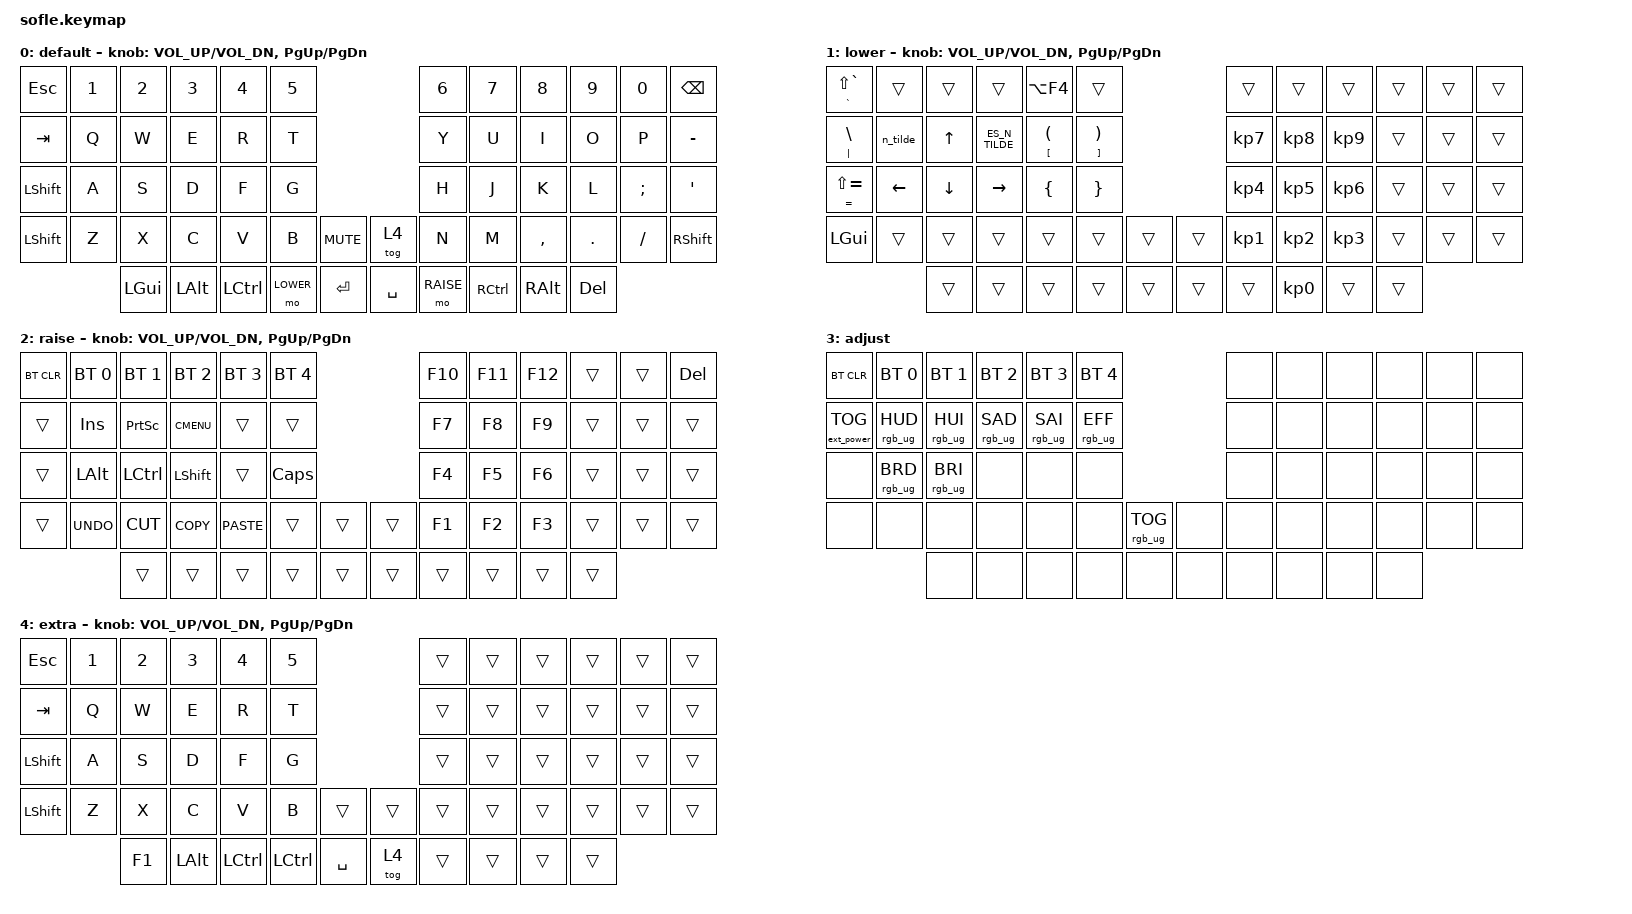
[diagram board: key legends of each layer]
/*
 * Copyright (c) 2020 The ZMK Contributors
 *
 * SPDX-License-Identifier: MIT
 */

#include <behaviors.dtsi>
#include <dt-bindings/zmk/bt.h>
#include <dt-bindings/zmk/ext_power.h>
#include <dt-bindings/zmk/keys.h>
#include <dt-bindings/zmk/rgb.h>
#include "keys_es_latin_american.h"

#define BASE 0
#define LOWER 1
#define RAISE 2
#define ADJUST 3
#define EXTRA 4

&nice_view_spi { cs-gpios = <&pro_micro 4 GPIO_ACTIVE_HIGH>; };

/ {
    // Activate ADJUST layer by pressing raise and lower

    conditional_layers {
        compatible = "zmk,conditional-layers";

        adjust_layer {
            if-layers = <LOWER RAISE>;
            then-layer = <ADJUST>;
        };
    };

    macros {
        n_tilde: n_tilde {
            compatible = "zmk,behavior-macro";
            #binding-cells = <0>;
            bindings = <&kt RIGHT_ALT &kp KP_N1 &kp KP_N6 &kp KP_N4 &kt RIGHT_ALT>;
            label = "N_TILDE";
        };
    };

    keymap {
        compatible = "zmk,keymap";

        default_layer {
            display-name = "default";

            // ------------------------------------------------------------------------------------------------------------
            // |   `   |  1  |  2  |  3   |  4   |  5   |                   |  6   |  7    |  8    |  9   |   0   |       |
            // |  ESC  |  Q  |  W  |  E   |  R   |  T   |                   |  Y   |  U    |  I    |  O   |   P   | BKSPC |
            // |  TAB  |  A  |  S  |  D   |  F   |  G   |                   |  H   |  J    |  K    |  L   |   ;   |   '   |
            // | SHIFT |  Z  |  X  |  C   |  V   |  B   |  MUTE  |  |       |  N   |  M    |  ,    |  .   |   /   | SHIFT |
            //               | GUI | ALT  | CTRL | LOWER|  ENTER |  | SPACE | RAISE| CTRL  | ALT   | GUI  |

            bindings = <
&kp ESC    &kp N1  &kp N2    &kp N3    &kp N4     &kp N5                              &kp N6     &kp N7     &kp N8     &kp N9      &kp N0    &kp BACKSPACE
&kp TAB    &kp Q   &kp W     &kp E     &kp R      &kp T                               &kp Y      &kp U      &kp I      &kp O       &kp P     &kp MINUS
&kp LSHFT  &kp A   &kp S     &kp D     &kp F      &kp G                               &kp H      &kp J      &kp K      &kp L       &kp SEMI  &kp SQT
&kp LSHFT  &kp Z   &kp X     &kp C     &kp V      &kp B      &kp C_MUTE    &tog 4     &kp N      &kp M      &kp COMMA  &kp DOT     &kp FSLH  &kp RSHFT
                   &kp LGUI  &kp LALT  &kp LCTRL  &mo LOWER  &kp RET       &kp SPACE  &mo RAISE  &kp RCTRL  &kp RALT   &kp DELETE
            >;

            sensor-bindings = <&inc_dec_kp C_VOL_UP C_VOL_DN &inc_dec_kp PG_UP PG_DN>;
        };

        lower_layer {
            display-name = "lower";

            // TODO: Some binds are waiting for shifted keycode support.
            // ------------------------------------------------------------------------------------------------------------
            // |       |  F1 |  F2 |  F3  |  F4  |  F5  |                   |  F6  |  F7   |  F8   |  F9  |  F10  |  F11  |
            // |   `   |  1  |  2  |  3   |  4   |  5   |                   |  6   |  7    |  8    |  9   |   0   |  F12  |
            // |       |  !  |  @  |  #   |  $   |  %   |                   |  ^   |  &    |  *    |  (   |   )   |   |   |
            // |       |  =  |  -  |  +   |  {   |  }   |        |  |       |  [   |  ]    |  ;    |  :   |   \   |       |
            //               |     |      |      |      |        |  |       |      |       |       |      |

            bindings = <
&mt GRAVE LS(GRAVE)  &trans          &trans        &trans          &kp LA(F4)                         &trans                                                 &trans           &trans           &trans           &trans  &trans  &trans
&mt PIPE BACKSLASH   &n_tilde        &kp UP_ARROW  &kp ES_N_TILDE  &mt LEFT_BRACKET LEFT_PARENTHESIS  &mt RIGHT_BRACKET RIGHT_PARENTHESIS                    &kp KP_NUMBER_7  &kp KP_NUMBER_8  &kp KP_NUMBER_9  &trans  &trans  &trans
&mt EQUAL LS(EQUAL)  &kp LEFT_ARROW  &kp DOWN      &kp RIGHT       &kp LEFT_BRACE                     &kp RIGHT_BRACE                                        &kp KP_NUMBER_4  &kp KP_NUMBER_5  &kp KP_NUMBER_6  &trans  &trans  &trans
&kp LEFT_GUI         &trans          &trans        &trans          &trans                             &trans                               &trans    &trans  &kp KP_NUMBER_1  &kp KP_NUMBER_2  &kp KP_NUMBER_3  &trans  &trans  &trans
                                     &trans        &trans          &trans                             &trans                               &trans    &trans  &trans           &kp KP_NUMBER_0  &trans           &trans
            >;

            sensor-bindings = <&inc_dec_kp C_VOL_UP C_VOL_DN &inc_dec_kp PG_UP PG_DN>;
        };

        raise_layer {
            display-name = "raise";

            // ------------------------------------------------------------------------------------------------------------
            // | BTCLR | BT1  | BT2  |  BT3  |  BT4  |  BT5 |                |      |      |       |      |       |       |
            // |       | INS  | PSCR | GUI   |       |      |                | PGUP |      |   ^   |      |       |       |
            // |       | ALT  | CTRL | SHIFT |       | CAPS |                | PGDN |   <- |   v   |  ->  |  DEL  | BKSPC |
            // |       | UNDO | CUT  | COPY  | PASTE |      |      |  |      |      |      |       |      |       |       |
            //                |      |       |       |      |      |  |      |      |      |       |      |

            bindings = <
&bt BT_CLR  &bt BT_SEL 0  &bt BT_SEL 1  &bt BT_SEL 2  &bt BT_SEL 3  &bt BT_SEL 4                    &kp F10  &kp F11  &kp F12  &trans  &trans  &kp DELETE
&trans      &kp INS       &kp PSCRN     &kp K_CMENU   &trans        &trans                          &kp F7   &kp F8   &kp F9   &trans  &trans  &trans
&trans      &kp LALT      &kp LCTRL     &kp LSHFT     &trans        &kp CLCK                        &kp F4   &kp F5   &kp F6   &trans  &trans  &trans
&trans      &kp K_UNDO    &kp K_CUT     &kp K_COPY    &kp K_PASTE   &trans        &trans    &trans  &kp F1   &kp F2   &kp F3   &trans  &trans  &trans
                          &trans        &trans        &trans        &trans        &trans    &trans  &trans   &trans   &trans   &trans
            >;

            sensor-bindings = <&inc_dec_kp C_VOL_UP C_VOL_DN &inc_dec_kp PG_UP PG_DN>;
        };

        adjust_layer {
            // ----------------------------------------------------------------------------------------------------------------------------
            // | BTCLR  |  BT1    |  BT2    |   BT3   |   BT4   |   BT5   |                  |      |      |       |      |       |       |
            // | EXTPWR | RGB_HUD | RGB_HUI | RGB_SAD | RGB_SAI | RGB_EFF |                  |      |      |       |      |       |       |
            // |        | RGB_BRD | RGB_BRI |         |         |         |                  |      |      |       |      |       |       |
            // |        |         |         |         |         |         | RGB_TOG | |      |      |      |       |      |       |       |
            //                    |         |         |         |         |         | |      |      |      |       |      |

            display-name = "adjust";
            bindings = <
&bt BT_CLR         &bt BT_SEL 0     &bt BT_SEL 1     &bt BT_SEL 2     &bt BT_SEL 3     &bt BT_SEL 4                               &none  &none  &none  &none  &none  &none
&ext_power EP_TOG  &rgb_ug RGB_HUD  &rgb_ug RGB_HUI  &rgb_ug RGB_SAD  &rgb_ug RGB_SAI  &rgb_ug RGB_EFF                            &none  &none  &none  &none  &none  &none
&none              &rgb_ug RGB_BRD  &rgb_ug RGB_BRI  &none            &none            &none                                      &none  &none  &none  &none  &none  &none
&none              &none            &none            &none            &none            &none            &rgb_ug RGB_TOG    &none  &none  &none  &none  &none  &none  &none
                                    &none            &none            &none            &none            &none              &none  &none  &none  &none  &none
            >;
        };

        extra_layer {
            display-name = "extra";

            // TODO: Some binds are waiting for shifted keycode support.
            // ------------------------------------------------------------------------------------------------------------
            // |       |  F1 |  F2 |  F3  |  F4  |  F5  |                   |  F6  |  F7   |  F8   |  F9  |  F10  |  F11  |
            // |   `   |  1  |  2  |  3   |  4   |  5   |                   |  6   |  7    |  8    |  9   |   0   |  F12  |
            // |       |  !  |  @  |  #   |  $   |  %   |                   |  ^   |  &    |  *    |  (   |   )   |   |   |
            // |       |  =  |  -  |  +   |  {   |  }   |        |  |       |  [   |  ]    |  ;    |  :   |   \   |       |
            //               |     |      |      |      |        |  |       |      |       |       |      |

            bindings = <
&kp ESC    &kp N1  &kp N2  &kp N3        &kp N4            &kp N5                                 &trans  &trans  &trans  &trans  &trans  &trans
&kp TAB    &kp Q   &kp W   &kp E         &kp R             &kp T                                  &trans  &trans  &trans  &trans  &trans  &trans
&kp LSHFT  &kp A   &kp S   &kp D         &kp F             &kp G                                  &trans  &trans  &trans  &trans  &trans  &trans
&kp LSHFT  &kp Z   &kp X   &kp C         &kp V             &kp B             &trans       &trans  &trans  &trans  &trans  &trans  &trans  &trans
                   &kp F1  &kp LEFT_ALT  &kp LEFT_CONTROL  &kp LEFT_CONTROL  &kp SPACE    &tog 4  &trans  &trans  &trans  &trans
            >;

            sensor-bindings = <&inc_dec_kp C_VOL_UP C_VOL_DN &inc_dec_kp PG_UP PG_DN>;
        };
    };
};
